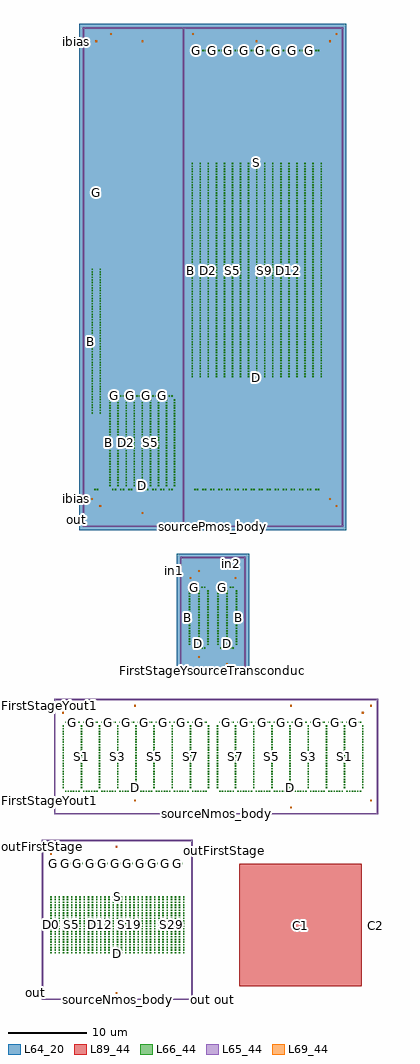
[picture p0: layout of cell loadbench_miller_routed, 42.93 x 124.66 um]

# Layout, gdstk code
from math import pi, radians
import gdstk
lib = gdstk.Library(unit=1e-6, precision=1e-09)
def R(c, l, rs):  # rectangles x0, y0, x1, y1
    for r in rs: c.add(gdstk.rectangle(r[:2], r[2:], *l))
def A(c, l, x, y, w, h, nx, ny, dx, dy):  # array of equal rectangles
    R(c, l, [(x+i*dx, y+j*dy, x+i*dx+w, y+j*dy+h) for i in range(nx) for j in range(ny)])
L64_20 = (64, 20)
L65_44 = (65, 44)
L66_44 = (66, 44)
L69_44 = (69, 44)
L89_44 = (89, 44)

d_sky130_fd_pr__nfet_01v = lib.new_cell('D$sky130_fd_pr__nfet_01v8_lvt$2')

c_d_sky130_fd_pr__nfet_01v = lib.new_cell('D$sky130_fd_pr__nfet_01v8_lvt$1')

c_d_sky130_fd_pr__nfet_01v_ = lib.new_cell('D$sky130_fd_pr__nfet_01v8_lvt')

c_d_sky130_fd_pr__nfet_01v__ = lib.new_cell('D$sky130_fd_pr__nfet_01v8_lvt$5')

c_d_sky130_fd_pr__nfet_01v___ = lib.new_cell('D$sky130_fd_pr__nfet_01v8_lvt$4')

c_d_sky130_fd_pr__nfet_01v____ = lib.new_cell('D$sky130_fd_pr__nfet_01v8_lvt$3')

d_sky130_fd_pr__pfet_01v = lib.new_cell('D$sky130_fd_pr__pfet_01v8_lvt$7')
R(d_sky130_fd_pr__pfet_01v, L64_20, [(-0.37,-27.72,0.37,27.72)])

d_sky130_fd_pr__model__c = lib.new_cell('D$sky130_fd_pr__model__cap_mim')
R(d_sky130_fd_pr__model__c, L89_44, [(-7.83,-7.83,7.83,7.83)])

c_d_sky130_fd_pr__pfet_01v = lib.new_cell('D$sky130_fd_pr__pfet_01v8_lvt$6')
R(c_d_sky130_fd_pr__pfet_01v, L64_20, [(-0.37,-27.72,0.37,27.72)])

c_d_sky130_fd_pr__pfet_01v_ = lib.new_cell('D$sky130_fd_pr__pfet_01v8_lvt$1')
R(c_d_sky130_fd_pr__pfet_01v_, L64_20, [(-0.445,-3.555,0.445,3.555)])

c_d_sky130_fd_pr__pfet_01v__ = lib.new_cell('D$sky130_fd_pr__pfet_01v8_lvt$8')
R(c_d_sky130_fd_pr__pfet_01v__, L64_20, [(-0.37,-27.72,0.37,27.72)])

c_d_sky130_fd_pr__pfet_01v___ = lib.new_cell('D$sky130_fd_pr__pfet_01v8_lvt$3')
R(c_d_sky130_fd_pr__pfet_01v___, L64_20, [(-0.37,-5.665,0.37,5.665)])

c_d_sky130_fd_pr__pfet_01v____ = lib.new_cell('D$sky130_fd_pr__pfet_01v8_lvt$4')
R(c_d_sky130_fd_pr__pfet_01v____, L64_20, [(-0.37,-5.665,0.37,5.665)])

c_d_sky130_fd_pr__pfet_01v_____ = lib.new_cell('D$sky130_fd_pr__pfet_01v8_lvt')
R(c_d_sky130_fd_pr__pfet_01v_____, L64_20, [(-0.445,-3.555,0.445,3.555)])

c_d_sky130_fd_pr__pfet_01v______ = lib.new_cell('D$sky130_fd_pr__pfet_01v8_lvt$5')
R(c_d_sky130_fd_pr__pfet_01v______, L64_20, [(-0.37,-5.665,0.37,5.665)])

c_d_sky130_fd_pr__pfet_01v_______ = lib.new_cell('D$sky130_fd_pr__pfet_01v8_lvt$2')
R(c_d_sky130_fd_pr__pfet_01v_______, L64_20, [(-0.37,-18.65,0.37,18.65)])

loadbench_miller_routed = lib.new_cell('loadbench_miller_routed')
R(loadbench_miller_routed, L64_20, [(-4.61,-83.07,4.61,-67.65), (-3.31,-79.87,-0.3,-71.76), (0.3,-79.87,3.31,-71.76), (-3.26,-75.865,-3.16,-75.765), (3.16,-75.865,3.26,-75.765), (-17.05,-64.65,17.05,0), (-15.75,-59.65,-14.07,-21.35), (-13.47,-59.65,-4.58,-47.32), (-2.98,-59.65,14.15,-3.21), (-13.42,-53.535,-13.32,-53.435), (-15.7,-40.55,-15.6,-40.45), (-2.93,-31.48,-2.83,-31.38)])
R(loadbench_miller_routed, L65_44, [(-21.845,-124.64,-2.575,-124.47), (-21.845,-124.47,-21.675,-104.37), (-2.745,-124.47,-2.575,-104.37), (-21.845,-104.37,-2.575,-104.2), (-20.285,-100.95,21.085,-100.78), (-20.285,-100.78,-20.115,-86.36), (20.915,-100.78,21.085,-86.36), (-20.285,-86.36,21.085,-86.19), (-4.195,-82.655,4.195,-82.485), (-4.195,-82.485,-4.025,-68.235), (4.025,-82.485,4.195,-68.235), (-4.195,-68.235,4.195,-68.065), (-16.635,-64.235,16.635,-64.065), (-16.635,-64.065,-16.465,-0.585), (-3.865,-64.065,-3.695,-0.585), (16.465,-64.065,16.635,-0.585), (-16.635,-0.585,16.635,-0.415)])
A(loadbench_miller_routed, L66_44, -21.475, -124.64, 0.17, 0.17, 55, 2, 0.34, 20.27)
A(loadbench_miller_routed, L66_44, -21.845, -124.195, 0.17, 0.17, 1, 58, 0, 0.34)
A(loadbench_miller_routed, L66_44, -2.745, -124.195, 0.17, 0.17, 1, 58, 0, 0.34)
A(loadbench_miller_routed, L66_44, -20.77, -118.715, 0.17, 0.17, 33, 22, 0.53, 0.34)
A(loadbench_miller_routed, L66_44, -20.505, -107.305, 0.17, 0.17, 32, 1, 0.53, 0)
A(loadbench_miller_routed, L66_44, -19.915, -100.95, 0.17, 0.17, 120, 2, 0.34, 14.59)
A(loadbench_miller_routed, L66_44, -20.285, -100.625, 0.17, 0.17, 1, 42, 0, 0.34)
A(loadbench_miller_routed, L66_44, 20.915, -100.625, 0.17, 0.17, 1, 42, 0, 0.34)
A(loadbench_miller_routed, L66_44, -18.9, -98.085, 0.17, 0.17, 6, 2, 0.34, 8.82)
A(loadbench_miller_routed, L66_44, -16.58, -98.085, 0.17, 0.17, 6, 2, 0.34, 8.82)
A(loadbench_miller_routed, L66_44, -14.26, -98.085, 0.17, 0.17, 6, 2, 0.34, 8.82)
A(loadbench_miller_routed, L66_44, -11.94, -98.085, 0.17, 0.17, 6, 2, 0.34, 8.82)
A(loadbench_miller_routed, L66_44, -9.62, -98.085, 0.17, 0.17, 6, 2, 0.34, 8.82)
A(loadbench_miller_routed, L66_44, -7.3, -98.085, 0.17, 0.17, 6, 2, 0.34, 8.82)
A(loadbench_miller_routed, L66_44, -4.98, -98.085, 0.17, 0.17, 6, 2, 0.34, 8.82)
A(loadbench_miller_routed, L66_44, -2.66, -98.085, 0.17, 0.17, 6, 2, 0.34, 8.82)
A(loadbench_miller_routed, L66_44, 0.8, -98.085, 0.17, 0.17, 6, 2, 0.34, 8.82)
A(loadbench_miller_routed, L66_44, 3.12, -98.085, 0.17, 0.17, 6, 2, 0.34, 8.82)
A(loadbench_miller_routed, L66_44, 5.44, -98.085, 0.17, 0.17, 6, 2, 0.34, 8.82)
A(loadbench_miller_routed, L66_44, 7.76, -98.085, 0.17, 0.17, 6, 2, 0.34, 8.82)
A(loadbench_miller_routed, L66_44, 10.08, -98.085, 0.17, 0.17, 6, 2, 0.34, 8.82)
A(loadbench_miller_routed, L66_44, 12.4, -98.085, 0.17, 0.17, 6, 2, 0.34, 8.82)
A(loadbench_miller_routed, L66_44, 14.72, -98.085, 0.17, 0.17, 6, 2, 0.34, 8.82)
A(loadbench_miller_routed, L66_44, 17.04, -98.085, 0.17, 0.17, 6, 2, 0.34, 8.82)
A(loadbench_miller_routed, L66_44, -19.21, -97.585, 0.17, 0.17, 9, 24, 2.32, 0.34)
A(loadbench_miller_routed, L66_44, 0.49, -97.585, 0.17, 0.17, 9, 24, 2.32, 0.34)
A(loadbench_miller_routed, L66_44, -3.825, -82.655, 0.17, 0.17, 23, 2, 0.34, 14.42)
A(loadbench_miller_routed, L66_44, -4.195, -82.245, 0.17, 0.17, 1, 41, 0, 0.34)
A(loadbench_miller_routed, L66_44, 4.025, -82.245, 0.17, 0.17, 1, 41, 0, 0.34)
A(loadbench_miller_routed, L66_44, -3.07, -79.3, 0.17, 0.17, 3, 21, 1.18, 0.34)
A(loadbench_miller_routed, L66_44, 0.54, -79.3, 0.17, 0.17, 3, 21, 1.18, 0.34)
A(loadbench_miller_routed, L66_44, -16.235, -64.235, 0.17, 0.17, 96, 2, 0.34, 63.65)
A(loadbench_miller_routed, L66_44, -16.635, -63.86, 0.17, 0.17, 1, 186, 0, 0.34)
A(loadbench_miller_routed, L66_44, -3.865, -63.86, 0.17, 0.17, 1, 186, 0, 0.34)
A(loadbench_miller_routed, L66_44, 16.465, -63.86, 0.17, 0.17, 1, 186, 0, 0.34)
A(loadbench_miller_routed, L66_44, -13.23, -59.01, 0.17, 0.17, 9, 33, 1.03, 0.34)
A(loadbench_miller_routed, L66_44, -15.51, -49.765, 0.17, 0.17, 1, 55, 0, 0.34)
A(loadbench_miller_routed, L66_44, -14.48, -49.765, 0.17, 0.17, 1, 55, 0, 0.34)
A(loadbench_miller_routed, L66_44, -2.74, -45.115, 0.17, 0.17, 17, 81, 1.03, 0.34)
R(loadbench_miller_routed, L66_44, [(-2.65,-79.775,-2.48,-79.605), (-2.31,-79.775,-2.14,-79.605), (-1.47,-79.775,-1.3,-79.605), (-1.13,-79.775,-0.96,-79.605), (0.96,-79.775,1.13,-79.605), (1.3,-79.775,1.47,-79.605), (2.14,-79.775,2.31,-79.605), (2.48,-79.775,2.65,-79.605), (-2.65,-72.025,-2.48,-71.855), (-2.31,-72.025,-2.14,-71.855), (-1.47,-72.025,-1.3,-71.855), (-1.13,-72.025,-0.96,-71.855), (0.96,-72.025,1.13,-71.855), (1.3,-72.025,1.47,-71.855), (2.14,-72.025,2.31,-71.855), (2.48,-72.025,2.65,-71.855), (-15.165,-59.555,-14.995,-59.385), (-14.825,-59.555,-14.655,-59.385), (-12.885,-59.555,-12.715,-59.385), (-12.545,-59.555,-12.375,-59.385), (-11.855,-59.555,-11.685,-59.385), (-11.515,-59.555,-11.345,-59.385), (-10.825,-59.555,-10.655,-59.385), (-10.485,-59.555,-10.315,-59.385), (-9.795,-59.555,-9.625,-59.385), (-9.455,-59.555,-9.285,-59.385), (-8.765,-59.555,-8.595,-59.385), (-8.425,-59.555,-8.255,-59.385), (-7.735,-59.555,-7.565,-59.385), (-7.395,-59.555,-7.225,-59.385), (-6.705,-59.555,-6.535,-59.385), (-6.365,-59.555,-6.195,-59.385), (-5.675,-59.555,-5.505,-59.385), (-5.335,-59.555,-5.165,-59.385), (-2.395,-59.555,-2.225,-59.385), (-2.055,-59.555,-1.885,-59.385), (-1.365,-59.555,-1.195,-59.385), (-1.025,-59.555,-0.855,-59.385), (-0.335,-59.555,-0.165,-59.385), (0.005,-59.555,0.175,-59.385), (0.695,-59.555,0.865,-59.385), (1.035,-59.555,1.205,-59.385), (1.725,-59.555,1.895,-59.385), (2.065,-59.555,2.235,-59.385), (2.755,-59.555,2.925,-59.385), (3.095,-59.555,3.265,-59.385), (3.785,-59.555,3.955,-59.385), (4.125,-59.555,4.295,-59.385), (4.815,-59.555,4.985,-59.385), (5.155,-59.555,5.325,-59.385), (5.845,-59.555,6.015,-59.385), (6.185,-59.555,6.355,-59.385), (6.875,-59.555,7.045,-59.385), (7.215,-59.555,7.385,-59.385), (7.905,-59.555,8.075,-59.385), (8.245,-59.555,8.415,-59.385), (8.935,-59.555,9.105,-59.385), (9.275,-59.555,9.445,-59.385), (9.965,-59.555,10.135,-59.385), (10.305,-59.555,10.475,-59.385), (10.995,-59.555,11.165,-59.385), (11.335,-59.555,11.505,-59.385), (12.025,-59.555,12.195,-59.385), (12.365,-59.555,12.535,-59.385), (13.055,-59.555,13.225,-59.385), (13.395,-59.555,13.565,-59.385), (-12.885,-47.585,-12.715,-47.415), (-12.545,-47.585,-12.375,-47.415), (-11.855,-47.585,-11.685,-47.415), (-11.515,-47.585,-11.345,-47.415), (-10.825,-47.585,-10.655,-47.415), (-10.485,-47.585,-10.315,-47.415), (-9.795,-47.585,-9.625,-47.415), (-9.455,-47.585,-9.285,-47.415), (-8.765,-47.585,-8.595,-47.415), (-8.425,-47.585,-8.255,-47.415), (-7.735,-47.585,-7.565,-47.415), (-7.395,-47.585,-7.225,-47.415), (-6.705,-47.585,-6.535,-47.415), (-6.365,-47.585,-6.195,-47.415), (-5.675,-47.585,-5.505,-47.415), (-5.335,-47.585,-5.165,-47.415), (-15.165,-21.615,-14.995,-21.445), (-14.825,-21.615,-14.655,-21.445), (-2.395,-3.475,-2.225,-3.305), (-2.055,-3.475,-1.885,-3.305), (-1.365,-3.475,-1.195,-3.305), (-1.025,-3.475,-0.855,-3.305), (-0.335,-3.475,-0.165,-3.305), (0.005,-3.475,0.175,-3.305), (0.695,-3.475,0.865,-3.305), (1.035,-3.475,1.205,-3.305), (1.725,-3.475,1.895,-3.305), (2.065,-3.475,2.235,-3.305), (2.755,-3.475,2.925,-3.305), (3.095,-3.475,3.265,-3.305), (3.785,-3.475,3.955,-3.305), (4.125,-3.475,4.295,-3.305), (4.815,-3.475,4.985,-3.305), (5.155,-3.475,5.325,-3.305), (5.845,-3.475,6.015,-3.305), (6.185,-3.475,6.355,-3.305), (6.875,-3.475,7.045,-3.305), (7.215,-3.475,7.385,-3.305), (7.905,-3.475,8.075,-3.305), (8.245,-3.475,8.415,-3.305), (8.935,-3.475,9.105,-3.305), (9.275,-3.475,9.445,-3.305), (9.965,-3.475,10.135,-3.305), (10.305,-3.475,10.475,-3.305), (10.995,-3.475,11.165,-3.305), (11.335,-3.475,11.505,-3.305), (12.025,-3.475,12.195,-3.305), (12.365,-3.475,12.535,-3.305), (13.055,-3.475,13.225,-3.305), (13.395,-3.475,13.565,-3.305)])
R(loadbench_miller_routed, L69_44, [(-12.31,-124.66,-12.11,-124.46), (-12.435,-123.855,-12.235,-123.655), (-20.79,-106.085,-20.59,-105.885), (-12.435,-105.185,-12.235,-104.985), (0.3,-100.97,0.5,-100.77), (9.875,-100.165,10.075,-99.965), (-10.075,-99.265,-9.875,-99.065), (20.1,-99.265,20.3,-99.065), (-19.23,-88.075,-19.03,-87.875), (19.03,-88.075,19.23,-87.875), (-10.075,-87.175,-9.875,-86.975), (9.875,-87.175,10.075,-86.975), (20.1,-87.175,20.3,-86.975), (-0.1,-82.67,0.1,-82.47), (1.705,-81.87,1.905,-81.67), (-1.905,-80.97,-1.705,-80.77), (-2.96,-70.85,-2.76,-70.65), (2.76,-70.85,2.96,-70.65), (-1.905,-69.95,-1.705,-69.75), (1.705,-69.05,1.905,-68.85), (-0.1,-64.25,0.1,-64.05), (5.485,-63.45,5.685,-63.25), (-9.125,-62.55,-8.925,-62.35), (-14.495,-61.65,-14.295,-61.45), (15.65,-61.65,15.85,-61.45), (-15.525,-60.75,-15.325,-60.55), (14.85,-60.75,15.05,-60.55), (-15.01,-2.3,-14.81,-2.1), (-9.125,-2.3,-8.925,-2.1), (5.485,-2.3,5.685,-2.1), (14.85,-2.3,15.05,-2.1), (-13.12,-1.4,-12.92,-1.2), (-2.63,-1.4,-2.43,-1.2), (15.65,-1.4,15.85,-1.2)])
R(loadbench_miller_routed, L89_44, [(3.34,-122.92,19,-107.26)])
loadbench_miller_routed.add(gdstk.Reference(d_sky130_fd_pr__nfet_01v, (-3.99,-115.06)))
loadbench_miller_routed.add(gdstk.Reference(c_d_sky130_fd_pr__nfet_01v, (-19.89,-115.06)))
loadbench_miller_routed.add(gdstk.Reference(c_d_sky130_fd_pr__nfet_01v, (-19.36,-115.06)))
loadbench_miller_routed.add(gdstk.Reference(c_d_sky130_fd_pr__nfet_01v, (-18.83,-115.06)))
loadbench_miller_routed.add(gdstk.Reference(c_d_sky130_fd_pr__nfet_01v, (-18.3,-115.06)))
loadbench_miller_routed.add(gdstk.Reference(c_d_sky130_fd_pr__nfet_01v, (-17.77,-115.06)))
loadbench_miller_routed.add(gdstk.Reference(c_d_sky130_fd_pr__nfet_01v, (-17.24,-115.06)))
loadbench_miller_routed.add(gdstk.Reference(c_d_sky130_fd_pr__nfet_01v, (-16.71,-115.06)))
loadbench_miller_routed.add(gdstk.Reference(c_d_sky130_fd_pr__nfet_01v, (-16.18,-115.06)))
loadbench_miller_routed.add(gdstk.Reference(c_d_sky130_fd_pr__nfet_01v, (-15.65,-115.06)))
loadbench_miller_routed.add(gdstk.Reference(c_d_sky130_fd_pr__nfet_01v, (-15.12,-115.06)))
loadbench_miller_routed.add(gdstk.Reference(c_d_sky130_fd_pr__nfet_01v, (-14.59,-115.06)))
loadbench_miller_routed.add(gdstk.Reference(c_d_sky130_fd_pr__nfet_01v, (-14.06,-115.06)))
loadbench_miller_routed.add(gdstk.Reference(c_d_sky130_fd_pr__nfet_01v, (-13.53,-115.06)))
loadbench_miller_routed.add(gdstk.Reference(c_d_sky130_fd_pr__nfet_01v, (-13,-115.06)))
loadbench_miller_routed.add(gdstk.Reference(c_d_sky130_fd_pr__nfet_01v, (-12.47,-115.06)))
loadbench_miller_routed.add(gdstk.Reference(c_d_sky130_fd_pr__nfet_01v, (-11.94,-115.06)))
loadbench_miller_routed.add(gdstk.Reference(c_d_sky130_fd_pr__nfet_01v, (-11.41,-115.06)))
loadbench_miller_routed.add(gdstk.Reference(c_d_sky130_fd_pr__nfet_01v, (-10.88,-115.06)))
loadbench_miller_routed.add(gdstk.Reference(c_d_sky130_fd_pr__nfet_01v, (-10.35,-115.06)))
loadbench_miller_routed.add(gdstk.Reference(c_d_sky130_fd_pr__nfet_01v, (-9.82,-115.06)))
loadbench_miller_routed.add(gdstk.Reference(c_d_sky130_fd_pr__nfet_01v, (-9.29,-115.06)))
loadbench_miller_routed.add(gdstk.Reference(c_d_sky130_fd_pr__nfet_01v, (-8.76,-115.06)))
loadbench_miller_routed.add(gdstk.Reference(c_d_sky130_fd_pr__nfet_01v, (-8.23,-115.06)))
loadbench_miller_routed.add(gdstk.Reference(c_d_sky130_fd_pr__nfet_01v, (-7.7,-115.06)))
loadbench_miller_routed.add(gdstk.Reference(c_d_sky130_fd_pr__nfet_01v, (-7.17,-115.06)))
loadbench_miller_routed.add(gdstk.Reference(c_d_sky130_fd_pr__nfet_01v, (-6.64,-115.06)))
loadbench_miller_routed.add(gdstk.Reference(c_d_sky130_fd_pr__nfet_01v, (-6.11,-115.06)))
loadbench_miller_routed.add(gdstk.Reference(c_d_sky130_fd_pr__nfet_01v, (-5.58,-115.06)))
loadbench_miller_routed.add(gdstk.Reference(c_d_sky130_fd_pr__nfet_01v, (-5.05,-115.06)))
loadbench_miller_routed.add(gdstk.Reference(c_d_sky130_fd_pr__nfet_01v, (-4.52,-115.06)))
loadbench_miller_routed.add(gdstk.Reference(c_d_sky130_fd_pr__nfet_01v_, (-20.42,-115.06)))
loadbench_miller_routed.add(gdstk.Reference(c_d_sky130_fd_pr__nfet_01v__, (-1.725,-93.59)))
loadbench_miller_routed.add(gdstk.Reference(c_d_sky130_fd_pr__nfet_01v___, (-15.645,-93.59)))
loadbench_miller_routed.add(gdstk.Reference(c_d_sky130_fd_pr__nfet_01v___, (-13.325,-93.59)))
loadbench_miller_routed.add(gdstk.Reference(c_d_sky130_fd_pr__nfet_01v___, (-11.005,-93.59)))
loadbench_miller_routed.add(gdstk.Reference(c_d_sky130_fd_pr__nfet_01v___, (-8.685,-93.59)))
loadbench_miller_routed.add(gdstk.Reference(c_d_sky130_fd_pr__nfet_01v___, (-6.365,-93.59)))
loadbench_miller_routed.add(gdstk.Reference(c_d_sky130_fd_pr__nfet_01v___, (-4.045,-93.59)))
loadbench_miller_routed.add(gdstk.Reference(c_d_sky130_fd_pr__nfet_01v____, (-17.965,-93.59)))
loadbench_miller_routed.add(gdstk.Reference(c_d_sky130_fd_pr__nfet_01v__, (1.735,-93.59), rotation=pi, x_reflection=True))
loadbench_miller_routed.add(gdstk.Reference(c_d_sky130_fd_pr__nfet_01v___, (4.055,-93.59), rotation=pi, x_reflection=True))
loadbench_miller_routed.add(gdstk.Reference(c_d_sky130_fd_pr__nfet_01v___, (6.375,-93.59), rotation=pi, x_reflection=True))
loadbench_miller_routed.add(gdstk.Reference(c_d_sky130_fd_pr__nfet_01v___, (8.695,-93.59), rotation=pi, x_reflection=True))
loadbench_miller_routed.add(gdstk.Reference(c_d_sky130_fd_pr__nfet_01v___, (11.015,-93.59), rotation=pi, x_reflection=True))
loadbench_miller_routed.add(gdstk.Reference(c_d_sky130_fd_pr__nfet_01v___, (13.335,-93.59), rotation=pi, x_reflection=True))
loadbench_miller_routed.add(gdstk.Reference(c_d_sky130_fd_pr__nfet_01v___, (15.655,-93.59), rotation=pi, x_reflection=True))
loadbench_miller_routed.add(gdstk.Reference(d_sky130_fd_pr__pfet_01v, (-1.11,-31.43)))
loadbench_miller_routed.add(gdstk.Reference(d_sky130_fd_pr__pfet_01v, (-0.08,-31.43)))
loadbench_miller_routed.add(gdstk.Reference(d_sky130_fd_pr__pfet_01v, (0.95,-31.43)))
loadbench_miller_routed.add(gdstk.Reference(d_sky130_fd_pr__pfet_01v, (1.98,-31.43)))
loadbench_miller_routed.add(gdstk.Reference(d_sky130_fd_pr__pfet_01v, (3.01,-31.43)))
loadbench_miller_routed.add(gdstk.Reference(d_sky130_fd_pr__pfet_01v, (4.04,-31.43)))
loadbench_miller_routed.add(gdstk.Reference(d_sky130_fd_pr__pfet_01v, (5.07,-31.43)))
loadbench_miller_routed.add(gdstk.Reference(d_sky130_fd_pr__pfet_01v, (6.1,-31.43)))
loadbench_miller_routed.add(gdstk.Reference(d_sky130_fd_pr__pfet_01v, (7.13,-31.43)))
loadbench_miller_routed.add(gdstk.Reference(d_sky130_fd_pr__pfet_01v, (8.16,-31.43)))
loadbench_miller_routed.add(gdstk.Reference(d_sky130_fd_pr__pfet_01v, (9.19,-31.43)))
loadbench_miller_routed.add(gdstk.Reference(d_sky130_fd_pr__pfet_01v, (10.22,-31.43)))
loadbench_miller_routed.add(gdstk.Reference(d_sky130_fd_pr__pfet_01v, (11.25,-31.43)))
loadbench_miller_routed.add(gdstk.Reference(d_sky130_fd_pr__pfet_01v, (12.28,-31.43)))
loadbench_miller_routed.add(gdstk.Reference(d_sky130_fd_pr__model__c, (11.17,-115.09)))
loadbench_miller_routed.add(gdstk.Reference(c_d_sky130_fd_pr__pfet_01v, (-2.14,-31.43)))
loadbench_miller_routed.add(gdstk.Reference(c_d_sky130_fd_pr__pfet_01v_, (1.215,-75.815), rotation=pi, x_reflection=True))
loadbench_miller_routed.add(gdstk.Reference(c_d_sky130_fd_pr__pfet_01v__, (13.31,-31.43)))
loadbench_miller_routed.add(gdstk.Reference(c_d_sky130_fd_pr__pfet_01v___, (-12.63,-53.485)))
loadbench_miller_routed.add(gdstk.Reference(c_d_sky130_fd_pr__pfet_01v____, (-11.6,-53.485)))
loadbench_miller_routed.add(gdstk.Reference(c_d_sky130_fd_pr__pfet_01v____, (-10.57,-53.485)))
loadbench_miller_routed.add(gdstk.Reference(c_d_sky130_fd_pr__pfet_01v____, (-9.54,-53.485)))
loadbench_miller_routed.add(gdstk.Reference(c_d_sky130_fd_pr__pfet_01v____, (-8.51,-53.485)))
loadbench_miller_routed.add(gdstk.Reference(c_d_sky130_fd_pr__pfet_01v____, (-7.48,-53.485)))
loadbench_miller_routed.add(gdstk.Reference(c_d_sky130_fd_pr__pfet_01v____, (-6.45,-53.485)))
loadbench_miller_routed.add(gdstk.Reference(c_d_sky130_fd_pr__pfet_01v_____, (2.395,-75.815), rotation=pi, x_reflection=True))
loadbench_miller_routed.add(gdstk.Reference(c_d_sky130_fd_pr__pfet_01v______, (-5.42,-53.485)))
loadbench_miller_routed.add(gdstk.Reference(c_d_sky130_fd_pr__nfet_01v____, (17.975,-93.59), rotation=pi, x_reflection=True))
loadbench_miller_routed.add(gdstk.Reference(c_d_sky130_fd_pr__pfet_01v_______, (-14.91,-40.5)))
loadbench_miller_routed.add(gdstk.Reference(c_d_sky130_fd_pr__pfet_01v_____, (-2.395,-75.815)))
loadbench_miller_routed.add(gdstk.Reference(c_d_sky130_fd_pr__pfet_01v_, (-1.215,-75.815)))
loadbench_miller_routed.add(gdstk.Label('B', (-3.21,-75.815), layer=64, texttype=5))
loadbench_miller_routed.add(gdstk.Label('B', (3.21,-75.815), layer=64, texttype=5))
loadbench_miller_routed.add(gdstk.Label('B', (-13.37,-53.485), layer=64, texttype=5))
loadbench_miller_routed.add(gdstk.Label('B', (-15.65,-40.5), layer=64, texttype=5))
loadbench_miller_routed.add(gdstk.Label('B', (-2.88,-31.43), layer=64, texttype=5))
loadbench_miller_routed.add(gdstk.Label('FirstStageYsourceTransconductance_body', (0,-82.57), layer=67, texttype=5))
loadbench_miller_routed.add(gdstk.Label('S29', (-5.315,-115.06), layer=67, texttype=5))
loadbench_miller_routed.add(gdstk.Label('S27', (-6.375,-115.06), layer=67, texttype=5))
loadbench_miller_routed.add(gdstk.Label('S25', (-7.435,-115.06), layer=67, texttype=5))
loadbench_miller_routed.add(gdstk.Label('S31', (-4.255,-115.06), layer=67, texttype=5))
loadbench_miller_routed.add(gdstk.Label('S23', (-8.495,-115.06), layer=67, texttype=5))
loadbench_miller_routed.add(gdstk.Label('S19', (-10.615,-115.06), layer=67, texttype=5))
loadbench_miller_routed.add(gdstk.Label('D12', (-14.325,-115.06), layer=67, texttype=5))
loadbench_miller_routed.add(gdstk.Label('D12', (9.705,-31.43), layer=67, texttype=5))
loadbench_miller_routed.add(gdstk.Label('D10', (-15.385,-115.06), layer=67, texttype=5))
loadbench_miller_routed.add(gdstk.Label('D10', (7.645,-31.43), layer=67, texttype=5))
loadbench_miller_routed.add(gdstk.Label('S5', (-18.035,-115.06), layer=67, texttype=5))
loadbench_miller_routed.add(gdstk.Label('S5', (-7.525,-93.59), layer=67, texttype=5))
loadbench_miller_routed.add(gdstk.Label('S5', (7.535,-93.59), layer=67, texttype=5))
loadbench_miller_routed.add(gdstk.Label('S5', (-7.995,-53.485), layer=67, texttype=5))
loadbench_miller_routed.add(gdstk.Label('S5', (2.495,-31.43), layer=67, texttype=5))
loadbench_miller_routed.add(gdstk.Label('S1', (-20.155,-115.06), layer=67, texttype=5))
loadbench_miller_routed.add(gdstk.Label('S1', (-16.805,-93.59), layer=67, texttype=5))
loadbench_miller_routed.add(gdstk.Label('S1', (16.815,-93.59), layer=67, texttype=5))
loadbench_miller_routed.add(gdstk.Label('S1', (-1.805,-75.815), layer=67, texttype=5))
loadbench_miller_routed.add(gdstk.Label('S1', (1.805,-75.815), layer=67, texttype=5))
loadbench_miller_routed.add(gdstk.Label('S1', (-12.115,-53.485), layer=67, texttype=5))
loadbench_miller_routed.add(gdstk.Label('S1', (-1.625,-31.43), layer=67, texttype=5))
loadbench_miller_routed.add(gdstk.Label('D6', (-17.505,-115.06), layer=67, texttype=5))
loadbench_miller_routed.add(gdstk.Label('D6', (-5.205,-93.59), layer=67, texttype=5))
loadbench_miller_routed.add(gdstk.Label('D6', (5.215,-93.59), layer=67, texttype=5))
loadbench_miller_routed.add(gdstk.Label('D6', (-6.965,-53.485), layer=67, texttype=5))
loadbench_miller_routed.add(gdstk.Label('D6', (3.525,-31.43), layer=67, texttype=5))
loadbench_miller_routed.add(gdstk.Label('D2', (-19.625,-115.06), layer=67, texttype=5))
loadbench_miller_routed.add(gdstk.Label('D2', (-14.485,-93.59), layer=67, texttype=5))
loadbench_miller_routed.add(gdstk.Label('D2', (14.495,-93.59), layer=67, texttype=5))
loadbench_miller_routed.add(gdstk.Label('D2', (-11.085,-53.485), layer=67, texttype=5))
loadbench_miller_routed.add(gdstk.Label('D2', (-0.595,-31.43), layer=67, texttype=5))
loadbench_miller_routed.add(gdstk.Label('S21', (-9.555,-115.06), layer=67, texttype=5))
loadbench_miller_routed.add(gdstk.Label('S11', (-14.855,-115.06), layer=67, texttype=5))
loadbench_miller_routed.add(gdstk.Label('S11', (8.675,-31.43), layer=67, texttype=5))
loadbench_miller_routed.add(gdstk.Label('D', (-15.425,-40.5), layer=67, texttype=5))
loadbench_miller_routed.add(gdstk.Label('G', (-20.42,-107.22), layer=67, texttype=5))
loadbench_miller_routed.add(gdstk.Label('G', (-19.89,-107.22), layer=67, texttype=5))
loadbench_miller_routed.add(gdstk.Label('G', (-19.36,-107.22), layer=67, texttype=5))
loadbench_miller_routed.add(gdstk.Label('G', (-18.83,-107.22), layer=67, texttype=5))
loadbench_miller_routed.add(gdstk.Label('G', (-18.3,-107.22), layer=67, texttype=5))
loadbench_miller_routed.add(gdstk.Label('G', (-17.77,-107.22), layer=67, texttype=5))
loadbench_miller_routed.add(gdstk.Label('G', (-17.24,-107.22), layer=67, texttype=5))
loadbench_miller_routed.add(gdstk.Label('G', (-16.71,-107.22), layer=67, texttype=5))
loadbench_miller_routed.add(gdstk.Label('G', (-16.18,-107.22), layer=67, texttype=5))
loadbench_miller_routed.add(gdstk.Label('G', (-15.65,-107.22), layer=67, texttype=5))
loadbench_miller_routed.add(gdstk.Label('G', (-15.12,-107.22), layer=67, texttype=5))
loadbench_miller_routed.add(gdstk.Label('G', (-14.59,-107.22), layer=67, texttype=5))
loadbench_miller_routed.add(gdstk.Label('G', (-14.06,-107.22), layer=67, texttype=5))
loadbench_miller_routed.add(gdstk.Label('G', (-13.53,-107.22), layer=67, texttype=5))
loadbench_miller_routed.add(gdstk.Label('G', (-13,-107.22), layer=67, texttype=5))
loadbench_miller_routed.add(gdstk.Label('G', (-12.47,-107.22), layer=67, texttype=5))
loadbench_miller_routed.add(gdstk.Label('G', (-11.94,-107.22), layer=67, texttype=5))
loadbench_miller_routed.add(gdstk.Label('G', (-11.41,-107.22), layer=67, texttype=5))
loadbench_miller_routed.add(gdstk.Label('G', (-10.88,-107.22), layer=67, texttype=5))
loadbench_miller_routed.add(gdstk.Label('G', (-10.35,-107.22), layer=67, texttype=5))
loadbench_miller_routed.add(gdstk.Label('G', (-9.82,-107.22), layer=67, texttype=5))
loadbench_miller_routed.add(gdstk.Label('G', (-9.29,-107.22), layer=67, texttype=5))
loadbench_miller_routed.add(gdstk.Label('G', (-8.76,-107.22), layer=67, texttype=5))
loadbench_miller_routed.add(gdstk.Label('G', (-8.23,-107.22), layer=67, texttype=5))
loadbench_miller_routed.add(gdstk.Label('G', (-7.7,-107.22), layer=67, texttype=5))
loadbench_miller_routed.add(gdstk.Label('G', (-7.17,-107.22), layer=67, texttype=5))
loadbench_miller_routed.add(gdstk.Label('G', (-6.64,-107.22), layer=67, texttype=5))
loadbench_miller_routed.add(gdstk.Label('G', (-6.11,-107.22), layer=67, texttype=5))
loadbench_miller_routed.add(gdstk.Label('G', (-5.58,-107.22), layer=67, texttype=5))
loadbench_miller_routed.add(gdstk.Label('G', (-5.05,-107.22), layer=67, texttype=5))
loadbench_miller_routed.add(gdstk.Label('G', (-4.52,-107.22), layer=67, texttype=5))
loadbench_miller_routed.add(gdstk.Label('G', (-3.99,-107.22), layer=67, texttype=5))
loadbench_miller_routed.add(gdstk.Label('G', (-12.63,-47.5), layer=67, texttype=5))
loadbench_miller_routed.add(gdstk.Label('G', (-11.6,-47.5), layer=67, texttype=5))
loadbench_miller_routed.add(gdstk.Label('G', (-10.57,-47.5), layer=67, texttype=5))
loadbench_miller_routed.add(gdstk.Label('G', (-9.54,-47.5), layer=67, texttype=5))
loadbench_miller_routed.add(gdstk.Label('G', (-8.51,-47.5), layer=67, texttype=5))
loadbench_miller_routed.add(gdstk.Label('G', (-7.48,-47.5), layer=67, texttype=5))
loadbench_miller_routed.add(gdstk.Label('G', (-6.45,-47.5), layer=67, texttype=5))
loadbench_miller_routed.add(gdstk.Label('G', (-5.42,-47.5), layer=67, texttype=5))
loadbench_miller_routed.add(gdstk.Label('G', (-2.14,-3.39), layer=67, texttype=5))
loadbench_miller_routed.add(gdstk.Label('G', (-1.11,-3.39), layer=67, texttype=5))
loadbench_miller_routed.add(gdstk.Label('G', (-0.08,-3.39), layer=67, texttype=5))
loadbench_miller_routed.add(gdstk.Label('G', (0.95,-3.39), layer=67, texttype=5))
loadbench_miller_routed.add(gdstk.Label('G', (1.98,-3.39), layer=67, texttype=5))
loadbench_miller_routed.add(gdstk.Label('G', (3.01,-3.39), layer=67, texttype=5))
loadbench_miller_routed.add(gdstk.Label('G', (4.04,-3.39), layer=67, texttype=5))
loadbench_miller_routed.add(gdstk.Label('G', (5.07,-3.39), layer=67, texttype=5))
loadbench_miller_routed.add(gdstk.Label('G', (6.1,-3.39), layer=67, texttype=5))
loadbench_miller_routed.add(gdstk.Label('G', (7.13,-3.39), layer=67, texttype=5))
loadbench_miller_routed.add(gdstk.Label('G', (8.16,-3.39), layer=67, texttype=5))
loadbench_miller_routed.add(gdstk.Label('G', (9.19,-3.39), layer=67, texttype=5))
loadbench_miller_routed.add(gdstk.Label('G', (10.22,-3.39), layer=67, texttype=5))
loadbench_miller_routed.add(gdstk.Label('G', (11.25,-3.39), layer=67, texttype=5))
loadbench_miller_routed.add(gdstk.Label('G', (12.28,-3.39), layer=67, texttype=5))
loadbench_miller_routed.add(gdstk.Label('G', (13.31,-3.39), layer=67, texttype=5))
loadbench_miller_routed.add(gdstk.Label('G', (-2.395,-71.94), layer=67, texttype=5))
loadbench_miller_routed.add(gdstk.Label('G', (-1.215,-71.94), layer=67, texttype=5))
loadbench_miller_routed.add(gdstk.Label('G', (1.215,-71.94), layer=67, texttype=5))
loadbench_miller_routed.add(gdstk.Label('G', (2.395,-71.94), layer=67, texttype=5))
loadbench_miller_routed.add(gdstk.Label('G', (-17.965,-89.18), layer=67, texttype=5))
loadbench_miller_routed.add(gdstk.Label('G', (-15.645,-89.18), layer=67, texttype=5))
loadbench_miller_routed.add(gdstk.Label('G', (-13.325,-89.18), layer=67, texttype=5))
loadbench_miller_routed.add(gdstk.Label('G', (-11.005,-89.18), layer=67, texttype=5))
loadbench_miller_routed.add(gdstk.Label('G', (-8.685,-89.18), layer=67, texttype=5))
loadbench_miller_routed.add(gdstk.Label('G', (-6.365,-89.18), layer=67, texttype=5))
loadbench_miller_routed.add(gdstk.Label('G', (-4.045,-89.18), layer=67, texttype=5))
loadbench_miller_routed.add(gdstk.Label('G', (-1.725,-89.18), layer=67, texttype=5))
loadbench_miller_routed.add(gdstk.Label('G', (1.735,-89.18), layer=67, texttype=5))
loadbench_miller_routed.add(gdstk.Label('G', (4.055,-89.18), layer=67, texttype=5))
loadbench_miller_routed.add(gdstk.Label('G', (6.375,-89.18), layer=67, texttype=5))
loadbench_miller_routed.add(gdstk.Label('G', (8.695,-89.18), layer=67, texttype=5))
loadbench_miller_routed.add(gdstk.Label('G', (11.015,-89.18), layer=67, texttype=5))
loadbench_miller_routed.add(gdstk.Label('G', (13.335,-89.18), layer=67, texttype=5))
loadbench_miller_routed.add(gdstk.Label('G', (15.655,-89.18), layer=67, texttype=5))
loadbench_miller_routed.add(gdstk.Label('G', (17.975,-89.18), layer=67, texttype=5))
loadbench_miller_routed.add(gdstk.Label('G', (-14.91,-21.53), layer=67, texttype=5))
loadbench_miller_routed.add(gdstk.Label('S9', (-15.915,-115.06), layer=67, texttype=5))
loadbench_miller_routed.add(gdstk.Label('S9', (6.615,-31.43), layer=67, texttype=5))
loadbench_miller_routed.add(gdstk.Label('S13', (-13.795,-115.06), layer=67, texttype=5))
loadbench_miller_routed.add(gdstk.Label('S13', (10.735,-31.43), layer=67, texttype=5))
loadbench_miller_routed.add(gdstk.Label('S17', (-11.675,-115.06), layer=67, texttype=5))
loadbench_miller_routed.add(gdstk.Label('S15', (-12.735,-115.06), layer=67, texttype=5))
loadbench_miller_routed.add(gdstk.Label('S15', (12.795,-31.43), layer=67, texttype=5))
loadbench_miller_routed.add(gdstk.Label('S7', (-16.975,-115.06), layer=67, texttype=5))
loadbench_miller_routed.add(gdstk.Label('S7', (-2.885,-93.59), layer=67, texttype=5))
loadbench_miller_routed.add(gdstk.Label('S7', (2.895,-93.59), layer=67, texttype=5))
loadbench_miller_routed.add(gdstk.Label('S7', (-5.935,-53.485), layer=67, texttype=5))
loadbench_miller_routed.add(gdstk.Label('S7', (4.555,-31.43), layer=67, texttype=5))
loadbench_miller_routed.add(gdstk.Label('D8', (-16.445,-115.06), layer=67, texttype=5))
loadbench_miller_routed.add(gdstk.Label('D8', (5.585,-31.43), layer=67, texttype=5))
loadbench_miller_routed.add(gdstk.Label('D4', (-18.565,-115.06), layer=67, texttype=5))
loadbench_miller_routed.add(gdstk.Label('D4', (-9.845,-93.59), layer=67, texttype=5))
loadbench_miller_routed.add(gdstk.Label('D4', (9.855,-93.59), layer=67, texttype=5))
loadbench_miller_routed.add(gdstk.Label('D4', (-9.025,-53.485), layer=67, texttype=5))
loadbench_miller_routed.add(gdstk.Label('D4', (1.465,-31.43), layer=67, texttype=5))
loadbench_miller_routed.add(gdstk.Label('D18', (-11.145,-115.06), layer=67, texttype=5))
loadbench_miller_routed.add(gdstk.Label('S3', (-19.095,-115.06), layer=67, texttype=5))
loadbench_miller_routed.add(gdstk.Label('S3', (-12.165,-93.59), layer=67, texttype=5))
loadbench_miller_routed.add(gdstk.Label('S3', (12.175,-93.59), layer=67, texttype=5))
loadbench_miller_routed.add(gdstk.Label('S3', (-10.055,-53.485), layer=67, texttype=5))
loadbench_miller_routed.add(gdstk.Label('S3', (0.435,-31.43), layer=67, texttype=5))
loadbench_miller_routed.add(gdstk.Label('D14', (-13.265,-115.06), layer=67, texttype=5))
loadbench_miller_routed.add(gdstk.Label('D14', (11.765,-31.43), layer=67, texttype=5))
loadbench_miller_routed.add(gdstk.Label('sourceNmos_body', (-12.21,-124.555), layer=67, texttype=5))
loadbench_miller_routed.add(gdstk.Label('sourceNmos_body', (0.4,-100.865), layer=67, texttype=5))
loadbench_miller_routed.add(gdstk.Label('D0', (-20.685,-115.06), layer=67, texttype=5))
loadbench_miller_routed.add(gdstk.Label('D0', (-19.125,-93.59), layer=67, texttype=5))
loadbench_miller_routed.add(gdstk.Label('D0', (19.135,-93.59), layer=67, texttype=5))
loadbench_miller_routed.add(gdstk.Label('D0', (-2.985,-75.815), layer=67, texttype=5))
loadbench_miller_routed.add(gdstk.Label('D0', (2.985,-75.815), layer=67, texttype=5))
loadbench_miller_routed.add(gdstk.Label('D0', (-13.145,-53.485), layer=67, texttype=5))
loadbench_miller_routed.add(gdstk.Label('D0', (-2.655,-31.43), layer=67, texttype=5))
loadbench_miller_routed.add(gdstk.Label('S', (-14.395,-40.5), layer=67, texttype=5))
loadbench_miller_routed.add(gdstk.Label('D20', (-10.085,-115.06), layer=67, texttype=5))
loadbench_miller_routed.add(gdstk.Label('D16', (-12.205,-115.06), layer=67, texttype=5))
loadbench_miller_routed.add(gdstk.Label('sourcePmos_body', (0,-64.15), layer=67, texttype=5))
loadbench_miller_routed.add(gdstk.Label('D22', (-9.025,-115.06), layer=67, texttype=5))
loadbench_miller_routed.add(gdstk.Label('D26', (-6.905,-115.06), layer=67, texttype=5))
loadbench_miller_routed.add(gdstk.Label('D24', (-7.965,-115.06), layer=67, texttype=5))
loadbench_miller_routed.add(gdstk.Label('D28', (-5.845,-115.06), layer=67, texttype=5))
loadbench_miller_routed.add(gdstk.Label('D30', (-4.785,-115.06), layer=67, texttype=5))
loadbench_miller_routed.add(gdstk.Label('D', (-15.425,-40.4), layer=68, texttype=5))
loadbench_miller_routed.add(gdstk.Label('S', (-14.395,-40.4), layer=68, texttype=5))
loadbench_miller_routed.add(gdstk.Label('G', (-12.205,-107.22), layer=68, texttype=5))
loadbench_miller_routed.add(gdstk.Label('G', (-9.845,-89.18), layer=68, texttype=5))
loadbench_miller_routed.add(gdstk.Label('G', (9.855,-89.18), layer=68, texttype=5))
loadbench_miller_routed.add(gdstk.Label('G', (-1.805,-71.94), layer=68, texttype=5))
loadbench_miller_routed.add(gdstk.Label('G', (1.805,-71.94), layer=68, texttype=5))
loadbench_miller_routed.add(gdstk.Label('G', (-9.025,-47.5), layer=68, texttype=5))
loadbench_miller_routed.add(gdstk.Label('G', (-14.91,-21.53), layer=68, texttype=5))
loadbench_miller_routed.add(gdstk.Label('G', (5.585,-3.39), layer=68, texttype=5))
loadbench_miller_routed.add(gdstk.Label('D', (-12.205,-118.665), layer=69, texttype=5))
loadbench_miller_routed.add(gdstk.Label('D', (-9.845,-97.515), layer=69, texttype=5))
loadbench_miller_routed.add(gdstk.Label('D', (9.855,-97.515), layer=69, texttype=5))
loadbench_miller_routed.add(gdstk.Label('D', (-1.805,-79.16), layer=69, texttype=5))
loadbench_miller_routed.add(gdstk.Label('D', (1.805,-79.16), layer=69, texttype=5))
loadbench_miller_routed.add(gdstk.Label('D', (-9.025,-58.94), layer=69, texttype=5))
loadbench_miller_routed.add(gdstk.Label('D', (5.585,-45.11), layer=69, texttype=5))
loadbench_miller_routed.add(gdstk.Label('S', (-12.205,-111.455), layer=69, texttype=5))
loadbench_miller_routed.add(gdstk.Label('S', (-9.845,-89.665), layer=69, texttype=5))
loadbench_miller_routed.add(gdstk.Label('S', (9.855,-89.665), layer=69, texttype=5))
loadbench_miller_routed.add(gdstk.Label('S', (-1.805,-72.47), layer=69, texttype=5))
loadbench_miller_routed.add(gdstk.Label('S', (1.805,-72.47), layer=69, texttype=5))
loadbench_miller_routed.add(gdstk.Label('S', (-9.025,-48.03), layer=69, texttype=5))
loadbench_miller_routed.add(gdstk.Label('S', (5.585,-17.75), layer=69, texttype=5))
loadbench_miller_routed.add(gdstk.Label('ibias', (-17.4,-60.65), layer=70, texttype=5))
loadbench_miller_routed.add(gdstk.Label('ibias', (-17.4,-2.2), layer=70, texttype=5))
loadbench_miller_routed.add(gdstk.Label('sourcePmos', (-17.4,-61.55), layer=70, texttype=5))
loadbench_miller_routed.add(gdstk.Label('sourcePmos', (-17.4,-1.3), layer=70, texttype=5))
loadbench_miller_routed.add(gdstk.Label('in1', (-4.96,-69.85), layer=70, texttype=5))
loadbench_miller_routed.add(gdstk.Label('FirstStageYsourceTransconductance', (-4.96,-70.75), layer=70, texttype=5))
loadbench_miller_routed.add(gdstk.Label('FirstStageYsourceTransconductance', (-17.4,-62.45), layer=70, texttype=5))
loadbench_miller_routed.add(gdstk.Label('FirstStageYout1', (-21.05,-99.165), layer=70, texttype=5))
loadbench_miller_routed.add(gdstk.Label('FirstStageYout1', (-21.05,-87.075), layer=70, texttype=5))
loadbench_miller_routed.add(gdstk.Label('FirstStageYout1', (-4.96,-80.87), layer=70, texttype=5))
loadbench_miller_routed.add(gdstk.Label('outFirstStage', (1.49,-105.61), layer=70, texttype=5))
loadbench_miller_routed.add(gdstk.Label('outFirstStage', (-22.61,-105.085), layer=70, texttype=5))
loadbench_miller_routed.add(gdstk.Label('outFirstStage', (-21.05,-100.065), layer=70, texttype=5))
loadbench_miller_routed.add(gdstk.Label('outFirstStage', (-4.96,-81.77), layer=70, texttype=5))
loadbench_miller_routed.add(gdstk.Label('in2', (-4.96,-68.95), layer=70, texttype=5))
loadbench_miller_routed.add(gdstk.Label('out', (1.49,-124.57), layer=70, texttype=5))
loadbench_miller_routed.add(gdstk.Label('out', (-22.61,-123.755), layer=70, texttype=5))
loadbench_miller_routed.add(gdstk.Label('out', (-17.4,-63.35), layer=70, texttype=5))
loadbench_miller_routed.add(gdstk.Label('sourceNmos', (-22.61,-105.985), layer=70, texttype=5))
loadbench_miller_routed.add(gdstk.Label('sourceNmos', (-21.05,-87.975), layer=70, texttype=5))
loadbench_miller_routed.add(gdstk.Label('in1', (-2.4,-69.85), layer=71, texttype=5))
loadbench_miller_routed.add(gdstk.Label('C1', (11.17,-115.09), layer=71, texttype=5))
loadbench_miller_routed.add(gdstk.Label('sourcePmos', (-0.8,-64.15), layer=71, texttype=5))
loadbench_miller_routed.add(gdstk.Label('C2', (20.7,-115.09), layer=71, texttype=5))
loadbench_miller_routed.add(gdstk.Label('IBIAS', (0,-2.2), layer=71, texttype=5))
loadbench_miller_routed.add(gdstk.Label('in2', (2.4,-68.95), layer=71, texttype=5))
loadbench_miller_routed.add(gdstk.Label('out', (-1.6,-124.57), layer=71, texttype=5))
loadbench_miller_routed.add(gdstk.Label('sourceNmos', (-2.4,-124.56), layer=71, texttype=5))

lib.write_gds('loadbench_miller_routed.gds')
